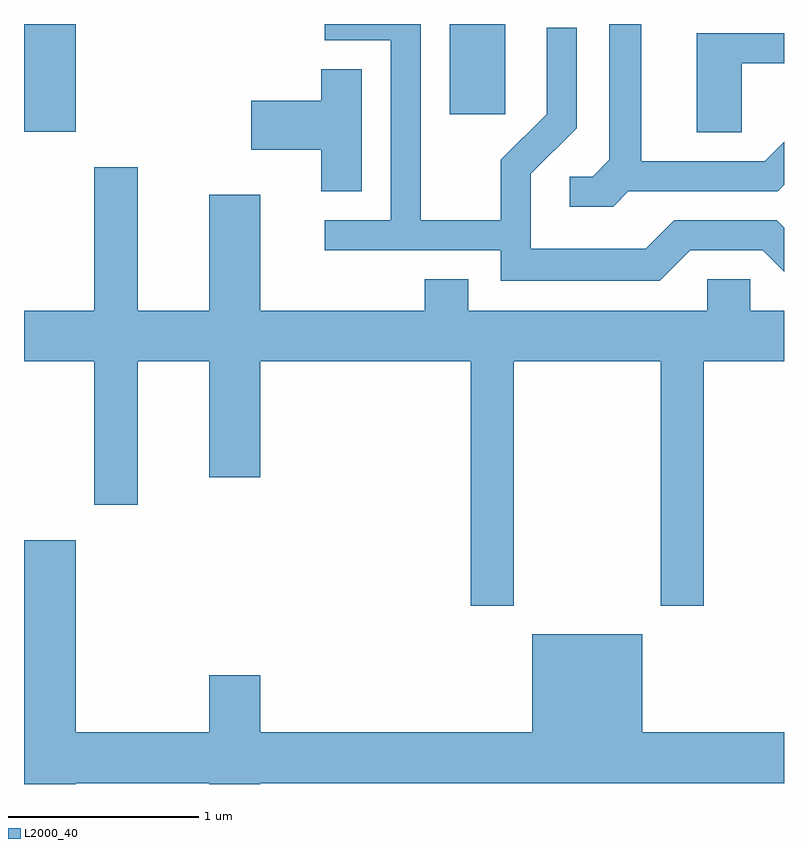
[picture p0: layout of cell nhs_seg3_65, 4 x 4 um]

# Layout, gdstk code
import gdstk
lib = gdstk.Library(unit=1e-6, precision=1e-09)
def R(c, l, rs):  # rectangles x0, y0, x1, y1
    for r in rs: c.add(gdstk.rectangle(r[:2], r[2:], *l))
def P(c, l, *ps):  # polygons
    for p in ps: c.add(gdstk.Polygon(p, *l))
L2000_40 = (2000, 40)

nhs_seg3_65 = lib.new_cell('nhs_seg3_65')
R(nhs_seg3_65, L2000_40, [(185.611,1249.326,185.884,1249.892), (187.851,1249.416,188.144,1249.892)])
P(nhs_seg3_65, L2000_40, [(188.792,1249.011),(189.577,1249.011),(189.611,1249.045),(189.611,1249.272),(189.509,1249.169),(188.859,1249.169),(188.859,1249.892),(188.691,1249.892),(188.691,1249.177),(188.604,1249.089),(188.483,1249.089),(188.483,1248.931),(188.712,1248.931)],
  [(189.117,1248.701),(189.499,1248.701),(189.611,1248.589),(189.611,1248.82),(189.572,1248.859),(189.034,1248.859),(188.884,1248.709),(188.279,1248.709),(188.279,1249.104),(188.519,1249.344),(188.519,1249.873),(188.361,1249.873),(188.361,1249.417),(188.121,1249.177),(188.121,1248.859),(187.699,1248.859),(187.699,1249.892),(187.193,1249.892),(187.193,1249.806),(187.541,1249.806),(187.541,1248.859),(187.193,1248.859),(187.193,1248.701),(188.121,1248.701),(188.121,1248.541),(188.957,1248.541)],
  [(189.389,1249.686),(189.611,1249.686),(189.611,1249.844),(189.151,1249.844),(189.151,1249.321),(189.389,1249.321)],
  [(187.389,1249.654),(187.176,1249.654),(187.176,1249.489),(186.806,1249.489),(186.806,1249.231),(187.176,1249.231),(187.176,1249.011),(187.389,1249.011)],
  [(188.189,1248.116),(188.961,1248.116),(188.961,1246.831),(189.189,1246.831),(189.189,1248.116),(189.611,1248.116),(189.611,1248.384),(189.434,1248.384),(189.434,1248.549),(189.206,1248.549),(189.206,1248.384),(187.949,1248.384),(187.949,1248.549),(187.721,1248.549),(187.721,1248.384),(186.854,1248.384),(186.854,1248.994),(186.586,1248.994),(186.586,1248.384),(186.209,1248.384),(186.209,1249.139),(185.981,1249.139),(185.981,1248.384),(185.611,1248.384),(185.611,1248.116),(185.981,1248.116),(185.981,1247.361),(186.209,1247.361),(186.209,1248.116),(186.586,1248.116),(186.586,1247.506),(186.854,1247.506),(186.854,1248.116),(187.961,1248.116),(187.961,1246.831),(188.189,1246.831)],
  [(185.884,1245.896),(186.586,1245.896),(186.586,1245.892),(186.854,1245.892),(186.854,1245.896),(189.611,1245.896),(189.611,1246.164),(188.864,1246.164),(188.864,1246.679),(188.286,1246.679),(188.286,1246.164),(186.854,1246.164),(186.854,1246.464),(186.586,1246.464),(186.586,1246.164),(185.884,1246.164),(185.884,1247.174),(185.611,1247.174),(185.611,1245.892),(185.884,1245.892)])

lib.write_gds('nhs_seg3_65.gds')
